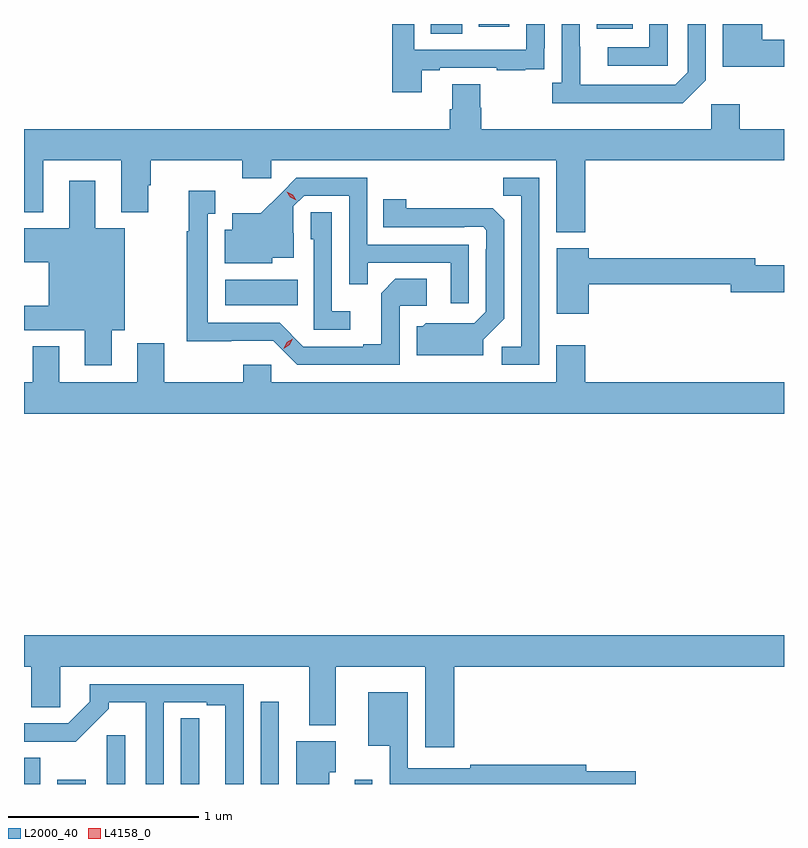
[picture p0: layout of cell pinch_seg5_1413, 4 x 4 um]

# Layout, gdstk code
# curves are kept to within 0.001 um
import gdstk
lib = gdstk.Library(unit=1e-6, precision=1e-09)
def R(c, l, rs):  # rectangles x0, y0, x1, y1
    for r in rs: c.add(gdstk.rectangle(r[:2], r[2:], *l))
def P(c, l, *ps):  # polygons
    for p in ps: c.add(gdstk.Polygon(p, *l))
L2000_40 = (2000, 40)
L4158_0 = (4158, 0)

pinch_seg5_1413 = lib.new_cell('pinch_seg5_1413')
R(pinch_seg5_1413, L2000_40, [(168.062,884.114,168.148,884.252), (168.236,884.114,168.388,884.137), (168.498,884.114,168.594,884.371), (169.308,884.114,169.404,884.548), (169.802,884.114,169.896,884.137), (169.122,886.634,169.502,886.768), (170.204,888.064,170.368,888.114), (171.077,888.089,171.265,888.114), (170.456,888.099,170.617,888.114)])
P(pinch_seg5_1413, L2000_40, [(171.651,887.817),(171.651,888.114),(171.555,888.114),(171.555,887.859),(171.489,887.793),(170.989,887.793),(170.988,888.114),(170.892,888.114),(170.892,887.806),(170.841,887.806),(170.841,887.696),(171.53,887.696)],
  [(172.062,888.032),(171.947,888.032),(171.947,888.114),(171.74,888.114),(171.74,887.89),(172.062,887.89)],
  [(170.155,887.871),(170.251,887.871),(170.251,887.883),(170.551,887.883),(170.551,887.871),(170.699,887.871),(170.699,887.877),(170.801,887.877),(170.801,887.986),(170.802,887.986),(170.802,888.114),(170.706,888.114),(170.706,887.979),(170.115,887.979),(170.115,888.114),(169.999,888.114),(169.999,887.754),(170.155,887.754)],
  [(171.45,888.114),(171.354,888.114),(171.354,887.991),(171.135,887.991),(171.135,887.895),(171.45,887.895)],
  [(171.017,887.396),(172.062,887.396),(172.062,887.56),(171.83,887.56),(171.83,887.692),(171.678,887.692),(171.678,887.56),(170.468,887.56),(170.468,887.673),(170.463,887.673),(170.463,887.798),(170.315,887.798),(170.315,887.666),(170.303,887.666),(170.303,887.56),(168.062,887.56),(168.062,887.123),(168.163,887.123),(168.163,887.396),(168.575,887.396),(168.575,887.123),(168.715,887.123),(168.715,887.265),(168.728,887.265),(168.728,887.396),(169.211,887.396),(169.211,887.301),(169.362,887.301),(169.362,887.396),(170.864,887.396),(170.864,887.018),(171.017,887.018)],
  [(170.403,886.953),(169.869,886.953),(169.869,887.304),(169.496,887.304),(169.309,887.119),(169.157,887.119),(169.157,887.032),(169.118,887.032),(169.118,886.856),(169.368,886.856),(169.368,886.883),(169.483,886.883),(169.483,887.012),(169.479,887.012),(169.479,887.154),(169.536,887.211),(169.773,887.211),(169.773,886.744),(169.871,886.744),(169.871,886.857),(170.307,886.857),(170.307,886.644),(170.403,886.644)],
  [(170.775,887.304),(170.584,887.304),(170.584,887.209),(170.679,887.209),(170.679,886.416),(170.577,886.416),(170.577,886.32),(170.775,886.32)],
  [(168.523,886.502),(168.592,886.502),(168.592,887.038),(168.436,887.038),(168.436,887.29),(168.299,887.29),(168.299,887.038),(168.062,887.038),(168.062,886.859),(168.191,886.859),(168.191,886.63),(168.062,886.63),(168.062,886.502),(168.383,886.502),(168.383,886.317),(168.523,886.317)],
  [(170.04,886.632),(170.182,886.632),(170.182,886.772),(170.017,886.772),(169.941,886.696),(169.941,886.429),(169.847,886.429),(169.847,886.416),(169.533,886.416),(169.407,886.542),(169.03,886.542),(169.03,887.115),(169.069,887.115),(169.069,887.236),(168.929,887.236),(168.929,887.023),(168.919,887.023),(168.919,886.445),(169.374,886.446),(169.5,886.32),(170.04,886.32)],
  [(170.479,886.452),(170.589,886.562),(170.589,887.084),(170.53,887.143),(170.073,887.144),(170.073,887.191),(169.954,887.191),(169.954,887.043),(170.378,887.043),(170.378,887.046),(170.478,887.046),(170.496,887.028),(170.496,886.928),(170.493,886.928),(170.493,886.599),(170.433,886.539),(170.176,886.54),(170.16,886.524),(170.129,886.524),(170.129,886.37),(170.479,886.37)],
  [(169.78,886.603),(169.683,886.603),(169.683,887.123),(169.572,887.123),(169.572,886.98),(169.587,886.98),(169.587,886.506),(169.78,886.506)],
  [(171.034,886.744),(171.782,886.744),(171.782,886.702),(172.062,886.702),(172.062,886.844),(171.91,886.844),(171.91,886.88),(171.034,886.88),(171.034,886.933),(170.867,886.933),(170.867,886.59),(171.034,886.59)],
  [(172.062,886.228),(171.017,886.228),(171.017,886.423),(170.864,886.423),(170.864,886.228),(169.362,886.228),(169.362,886.321),(169.216,886.321),(169.216,886.228),(168.799,886.228),(168.799,886.435),(168.659,886.435),(168.659,886.228),(168.247,886.228),(168.247,886.417),(168.107,886.417),(168.107,886.228),(168.062,886.228),(168.062,886.064),(172.062,886.064)],
  [(170.327,884.732),(172.062,884.732),(172.062,884.896),(168.062,884.896),(168.062,884.732),(168.101,884.732),(168.101,884.518),(168.252,884.518),(168.252,884.732),(169.562,884.732),(169.562,884.423),(169.702,884.423),(169.702,884.732),(170.174,884.732),(170.174,884.307),(170.327,884.307)],
  [(168.798,884.544),(169.025,884.544),(169.025,884.529),(169.121,884.529),(169.121,884.114),(169.218,884.114),(169.218,884.64),(168.408,884.64),(168.408,884.547),(168.294,884.433),(168.062,884.433),(168.062,884.337),(168.334,884.336),(168.508,884.509),(168.508,884.543),(168.702,884.543),(168.702,884.114),(168.798,884.114)],
  [(171.283,884.18),(171.022,884.18),(171.022,884.216),(170.41,884.216),(170.41,884.196),(170.082,884.196),(170.082,884.596),(169.874,884.596),(169.874,884.315),(169.986,884.315),(169.986,884.114),(171.283,884.114)],
  [(168.985,884.351),(168.984,884.351),(168.984,884.459),(168.888,884.459),(168.888,884.114),(168.985,884.114)],
  [(169.669,884.177),(169.702,884.177),(169.702,884.338),(169.496,884.338),(169.496,884.114),(169.669,884.114)])
P(pinch_seg5_1413, L4158_0, [(169.428,886.406),(169.428,886.407),(169.445,886.439),(169.477,886.458),(169.477,886.458),(169.477,886.458),(169.46,886.425),(169.428,886.406)],
  [(169.494,887.186),(169.464,887.201),(169.446,887.23),(169.446,887.231),(169.446,887.231),(169.477,887.216),(169.495,887.187),(169.495,887.186)])

lib.write_gds('pinch_seg5_1413.gds')
